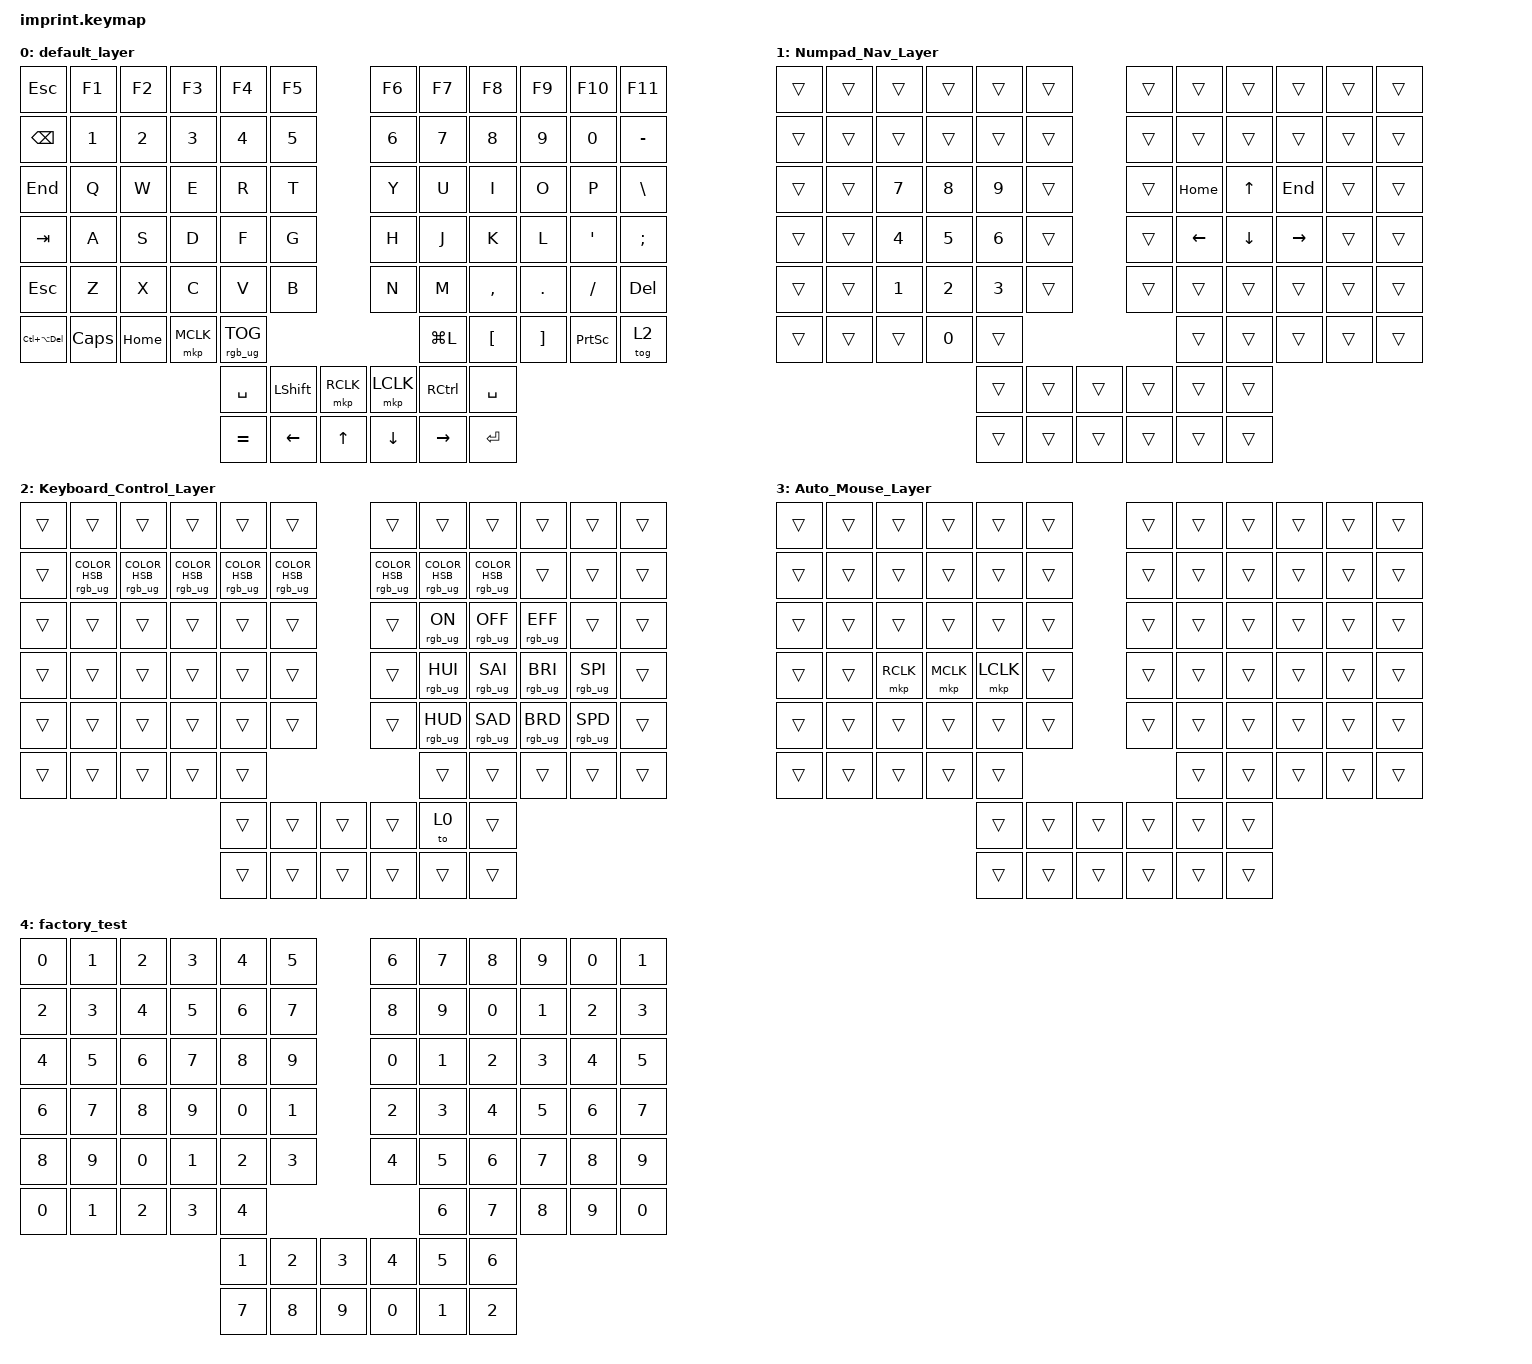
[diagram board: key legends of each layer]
#include <input/processors.dtsi>
#include <dt-bindings/zmk/input_transform.h>
#include <behaviors.dtsi>
#include <dt-bindings/zmk/keys.h>
#include <dt-bindings/zmk/pointing.h>
#include <dt-bindings/zmk/rgb.h>

/ {
    chosen { zmk,matrix-transform = &imprint_function_row_full_bottom_row; };

    keymap {
        compatible = "zmk,keymap";

        default_layer {
            bindings = <
&kp ESC             &kp F1    &kp F2    &kp F3     &kp F4           &kp F5                          &kp F6          &kp F7             &kp F8     &kp F9    &kp F10          &kp F11
&kp BACKSPACE       &kp N1    &kp N2    &kp N3     &kp N4           &kp N5                          &kp N6          &kp N7             &kp N8     &kp N9    &kp N0           &kp MINUS
&kp END             &kp Q     &kp W     &kp E      &kp R            &kp T                           &kp Y           &kp U              &kp I      &kp O     &kp P            &kp BSLH
&kp TAB             &kp A     &kp S     &kp D      &kp F            &kp G                           &kp H           &kp J              &kp K      &kp L     &kp APOS         &kp SEMI
&kp ESCAPE          &kp Z     &kp X     &kp C      &kp V            &kp B                           &kp N           &kp M              &kp COMMA  &kp DOT   &kp FSLH         &kp DELETE
&kp LC(LA(DELETE))  &kp CAPS  &kp HOME  &mkp MCLK  &rgb_ug RGB_TOG                                                  &kp LG(L)          &kp LBKT   &kp RBKT  &kp PRINTSCREEN  &tog 2
                                                   &kp SPACE        &kp LEFT_SHIFT  &mkp RCLK       &mkp LCLK       &kp RIGHT_CONTROL  &kp SPACE
                                                   &kp EQUAL        &kp LEFT        &kp UP_ARROW    &kp DOWN_ARROW  &kp RIGHT          &kp ENTER
            >;
        };

        Numpad_Nav_Layer {
            bindings = <
&trans  &trans  &trans  &trans  &trans  &trans            &trans  &trans    &trans    &trans     &trans  &trans
&trans  &trans  &trans  &trans  &trans  &trans            &trans  &trans    &trans    &trans     &trans  &trans
&trans  &trans  &kp N7  &kp N8  &kp N9  &trans            &trans  &kp HOME  &kp UP    &kp END    &trans  &trans
&trans  &trans  &kp N4  &kp N5  &kp N6  &trans            &trans  &kp LEFT  &kp DOWN  &kp RIGHT  &trans  &trans
&trans  &trans  &kp N1  &kp N2  &kp N3  &trans            &trans  &trans    &trans    &trans     &trans  &trans
&trans  &trans  &trans  &kp N0  &trans                            &trans    &trans    &trans     &trans  &trans
                                &trans  &trans  &trans    &trans  &trans    &trans
                                &trans  &trans  &trans    &trans  &trans    &trans
            >;
        };

        Keyboard_Control_Layer {
            bindings = <
&trans  &trans                          &trans                           &trans                           &trans                            &trans                                      &trans                            &trans                            &trans                             &trans           &trans           &trans
&trans  &rgb_ug RGB_COLOR_HSB(0,94,29)  &rgb_ug RGB_COLOR_HSB(23,93,44)  &rgb_ug RGB_COLOR_HSB(57,90,49)  &rgb_ug RGB_COLOR_HSB(113,92,18)  &rgb_ug RGB_COLOR_HSB(205,95,32)            &rgb_ug RGB_COLOR_HSB(242,96,21)  &rgb_ug RGB_COLOR_HSB(276,94,33)  &rgb_ug RGB_COLOR_HSB(305,100,45)  &trans           &trans           &trans
&trans  &trans                          &trans                           &trans                           &trans                            &trans                                      &trans                            &rgb_ug RGB_ON                    &rgb_ug RGB_OFF                    &rgb_ug RGB_EFF  &trans           &trans
&trans  &trans                          &trans                           &trans                           &trans                            &trans                                      &trans                            &rgb_ug RGB_HUI                   &rgb_ug RGB_SAI                    &rgb_ug RGB_BRI  &rgb_ug RGB_SPI  &trans
&trans  &trans                          &trans                           &trans                           &trans                            &trans                                      &trans                            &rgb_ug RGB_HUD                   &rgb_ug RGB_SAD                    &rgb_ug RGB_BRD  &rgb_ug RGB_SPD  &trans
&trans  &trans                          &trans                           &trans                           &trans                                                                                                          &trans                            &trans                             &trans           &trans           &trans
                                                                                                          &trans                            &trans                            &trans    &trans                            &to 0                             &trans
                                                                                                          &trans                            &trans                            &trans    &trans                            &trans                            &trans
            >;
        };

        Auto_Mouse_Layer {
            bindings = <
&trans  &trans  &trans     &trans     &trans     &trans            &trans  &trans  &trans  &trans  &trans  &trans
&trans  &trans  &trans     &trans     &trans     &trans            &trans  &trans  &trans  &trans  &trans  &trans
&trans  &trans  &trans     &trans     &trans     &trans            &trans  &trans  &trans  &trans  &trans  &trans
&trans  &trans  &mkp RCLK  &mkp MCLK  &mkp LCLK  &trans            &trans  &trans  &trans  &trans  &trans  &trans
&trans  &trans  &trans     &trans     &trans     &trans            &trans  &trans  &trans  &trans  &trans  &trans
&trans  &trans  &trans     &trans     &trans                               &trans  &trans  &trans  &trans  &trans
                                      &trans     &trans  &trans    &trans  &trans  &trans
                                      &trans     &trans  &trans    &trans  &trans  &trans
            >;
        };

        factory_test {
            bindings = <
&kp N0  &kp N1  &kp N2  &kp N3  &kp N4  &kp N5            &kp N6  &kp N7  &kp N8  &kp N9  &kp N0  &kp N1
&kp N2  &kp N3  &kp N4  &kp N5  &kp N6  &kp N7            &kp N8  &kp N9  &kp N0  &kp N1  &kp N2  &kp N3
&kp N4  &kp N5  &kp N6  &kp N7  &kp N8  &kp N9            &kp N0  &kp N1  &kp N2  &kp N3  &kp N4  &kp N5
&kp N6  &kp N7  &kp N8  &kp N9  &kp N0  &kp N1            &kp N2  &kp N3  &kp N4  &kp N5  &kp N6  &kp N7
&kp N8  &kp N9  &kp N0  &kp N1  &kp N2  &kp N3            &kp N4  &kp N5  &kp N6  &kp N7  &kp N8  &kp N9
&kp N0  &kp N1  &kp N2  &kp N3  &kp N4                            &kp N6  &kp N7  &kp N8  &kp N9  &kp N0
                                &kp N1  &kp N2  &kp N3    &kp N4  &kp N5  &kp N6
                                &kp N7  &kp N8  &kp N9    &kp N0  &kp N1  &kp N2
            >;
        };
    };
};

// right hand trackball configuration
// &trackball_peripheral_listener {
//    input-processors =
//     activate layer 3 within 50ms of the trackball moving
//     <&zip_temp_layer 3 500>;
// };
//left hand trackball configuration

&trackball_central_listener {
    input-processors =
        // multiply sensitivity by 1, divide by 15 (make it slower for scrolling),,,,,,,,,,,,,,,,,,,,,,,,,,,,,,,,,
        <&zip_xy_scaler 1 30>,
        // make this trackball output scrolling events by default instead of cursor movement,,,,,,,,,,,,,,,,,,,,,,,,,,,,,,,,,
        <&zip_xy_to_scroll_mapper>,
        // invert vertical scrolling so that the view moves in the same direction as the top of the trackball.,,,,,,,,,,,,,,,,,,,,,,,,,,,,,,,,,
        <&zip_scroll_transform INPUT_TRANSFORM_Y_INVERT>;
};
